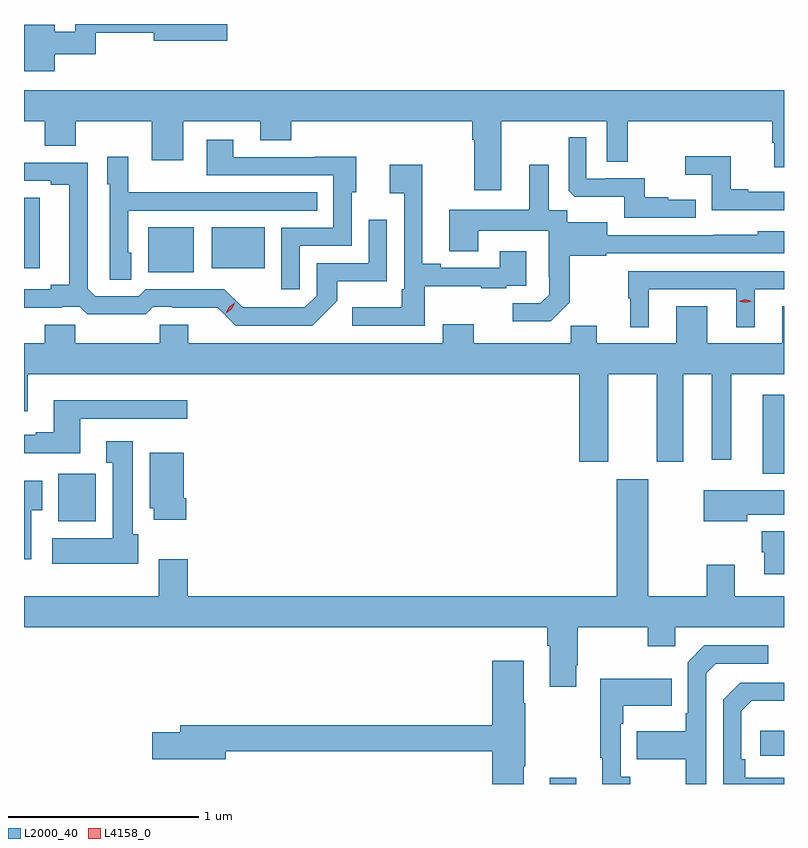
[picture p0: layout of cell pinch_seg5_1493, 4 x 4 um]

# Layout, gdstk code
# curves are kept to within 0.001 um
import gdstk
lib = gdstk.Library(unit=1e-6, precision=1e-09)
def R(c, l, rs):  # rectangles x0, y0, x1, y1
    for r in rs: c.add(gdstk.rectangle(r[:2], r[2:], *l))
def P(c, l, *ps):  # polygons
    for p in ps: c.add(gdstk.Polygon(p, *l))
L2000_40 = (2000, 40)
L4158_0 = (4158, 0)

pinch_seg5_1493 = lib.new_cell('pinch_seg5_1493')
R(pinch_seg5_1493, L2000_40, [(254.009,842.616,254.149,842.65), (255.117,842.766,255.242,842.896), (251.423,843.998,251.619,844.249), (255.131,844.25,255.242,844.666), (251.897,845.309,252.136,845.545), (251.242,845.33,251.326,845.701), (252.23,845.33,252.508,845.545)])
P(pinch_seg5_1493, L2000_40, [(251.404,846.458),(251.62,846.458),(251.62,846.57),(251.924,846.57),(251.924,846.527),(252.313,846.527),(252.313,846.616),(251.511,846.616),(251.511,846.575),(251.404,846.575),(251.404,846.613),(251.242,846.613),(251.242,846.368),(251.404,846.368)],
  [(253.753,846.104),(254.31,846.104),(254.31,845.89),(254.419,845.89),(254.419,846.104),(255.179,846.104),(255.179,845.991),(255.191,845.991),(255.191,845.862),(255.242,845.862),(255.242,846.268),(251.242,846.268),(251.242,846.104),(251.351,846.104),(251.351,845.976),(251.515,845.976),(251.515,846.104),(251.915,846.104),(251.915,845.898),(252.079,845.898),(252.079,846.104),(252.485,846.104),(252.485,846.005),(252.649,846.005),(252.649,846.104),(253.601,846.104),(253.601,846.008),(253.613,846.008),(253.613,845.742),(253.753,845.742)],
  [(254.777,845.692),(254.633,845.692),(254.633,845.704),(254.51,845.704),(254.51,845.805),(254.302,845.805),(254.302,845.802),(254.202,845.802),(254.202,846.019),(254.109,846.019),(254.109,845.739),(254.141,845.708),(254.4,845.708),(254.4,845.595),(254.777,845.595)],
  [(252.693,845.448),(252.966,845.448),(252.966,845.73),(252.991,845.73),(252.991,845.918),(252.773,845.918),(252.773,845.916),(252.343,845.916),(252.343,846.007),(252.203,846.007),(252.203,845.82),(252.87,845.82),(252.87,845.544),(252.597,845.544),(252.597,845.22),(252.693,845.22)],
  [(255.242,845.733),(255.055,845.733),(255.055,845.746),(254.961,845.746),(254.961,845.921),(254.721,845.921),(254.721,845.822),(254.862,845.822),(254.862,845.637),(255.242,845.637)],
  [(251.806,845.412),(251.79,845.412),(251.79,845.634),(252.785,845.634),(252.785,845.73),(252.107,845.73),(252.107,845.731),(251.79,845.731),(251.79,845.917),(251.681,845.917),(251.681,845.772),(251.694,845.772),(251.694,845.269),(251.806,845.269)],
  [(252.891,845.159),(252.891,845.261),(253.152,845.261),(253.152,845.587),(253.056,845.587),(253.056,845.358),(252.783,845.358),(252.783,845.187),(252.72,845.124),(252.496,845.124),(252.496,845.126),(252.392,845.126),(252.297,845.22),(251.883,845.22),(251.847,845.184),(251.616,845.184),(251.577,845.223),(251.577,845.886),(251.242,845.886),(251.242,845.79),(251.384,845.79),(251.384,845.77),(251.48,845.77),(251.48,845.243),(251.384,845.243),(251.384,845.22),(251.242,845.22),(251.242,845.123),(251.441,845.123),(251.441,845.127),(251.535,845.127),(251.575,845.088),(251.883,845.088),(251.922,845.127),(252.022,845.127),(252.022,845.123),(252.263,845.123),(252.357,845.028),(252.76,845.028)],
  [(253.351,845.237),(253.649,845.237),(253.649,845.226),(253.781,845.226),(253.781,845.238),(253.885,845.238),(253.885,845.419),(253.745,845.419),(253.745,845.334),(253.435,845.334),(253.435,845.353),(253.339,845.353),(253.339,845.875),(253.167,845.875),(253.167,845.726),(253.242,845.726),(253.242,845.221),(253.23,845.221),(253.23,845.125),(252.969,845.125),(252.969,845.028),(253.351,845.028)],
  [(254.115,845.151),(254.115,845.397),(254.307,845.397),(254.307,845.409),(255.242,845.409),(255.242,845.524),(255.105,845.524),(255.105,845.506),(254.311,845.505),(254.311,845.572),(254.1,845.572),(254.1,845.636),(254.005,845.636),(254.005,845.875),(253.901,845.875),(253.901,845.638),(253.481,845.638),(253.481,845.419),(253.633,845.419),(253.633,845.528),(254.004,845.528),(254.004,845.287),(254.006,845.287),(254.006,845.192),(253.959,845.145),(253.815,845.145),(253.815,845.051),(254.015,845.051)],
  [(254.53,845.22),(254.99,845.22),(254.99,845.021),(255.088,845.021),(255.088,845.22),(255.242,845.22),(255.242,845.316),(254.421,845.316),(254.421,845.172),(254.432,845.172),(254.432,845.021),(254.53,845.021)],
  [(254.257,845.027),(254.119,845.027),(254.119,844.936),(253.609,844.936),(253.609,845.035),(253.445,845.035),(253.445,844.936),(252.106,844.936),(252.106,845.034),(251.956,845.034),(251.956,844.936),(251.511,844.936),(251.511,845.034),(251.351,845.034),(251.351,844.936),(251.242,844.936),(251.242,844.578),(251.263,844.578),(251.263,844.772),(254.165,844.772),(254.165,844.311),(254.317,844.311),(254.317,844.772),(254.573,844.772),(254.573,844.311),(254.713,844.311),(254.713,844.772),(254.861,844.772),(254.861,844.323),(254.965,844.323),(254.965,844.772),(255.242,844.772),(255.242,845.131),(255.233,845.131),(255.233,844.936),(254.839,844.936),(254.839,845.131),(254.675,845.131),(254.675,844.936),(254.257,844.936)],
  [(251.539,844.539),(252.1,844.539),(252.1,844.636),(251.399,844.636),(251.399,844.468),(251.303,844.468),(251.303,844.455),(251.242,844.455),(251.242,844.358),(251.539,844.358)],
  [(251.842,843.93),(251.815,843.93),(251.815,844.42),(251.675,844.42),(251.675,844.307),(251.708,844.307),(251.708,843.91),(251.391,843.91),(251.391,843.776),(251.842,843.776)],
  [(252.095,844.12),(252.082,844.12),(252.082,844.36),(251.903,844.36),(251.903,844.068),(251.924,844.068),(251.924,844.008),(252.095,844.008)],
  [(254.149,843.241),(254.157,843.241),(254.157,843.44),(254.524,843.44),(254.524,843.341),(254.67,843.341),(254.67,843.44),(255.242,843.44),(255.242,843.604),(254.983,843.604),(254.983,843.769),(254.836,843.769),(254.836,843.604),(254.527,843.604),(254.527,844.219),(254.363,844.219),(254.363,843.604),(252.104,843.604),(252.104,843.799),(251.951,843.799),(251.951,843.604),(251.242,843.604),(251.242,843.44),(253.997,843.44),(253.997,843.344),(254.009,843.344),(254.009,843.129),(254.149,843.129)],
  [(251.281,844.057),(251.338,844.057),(251.338,844.213),(251.242,844.213),(251.242,843.798),(251.281,843.798)],
  [(255.049,844.034),(255.242,844.034),(255.242,844.162),(254.82,844.162),(254.82,843.998),(255.049,843.998)],
  [(255.242,843.945),(255.125,843.945),(255.125,843.837),(255.137,843.837),(255.137,843.72),(255.242,843.72)],
  [(254.832,843.198),(254.883,843.249),(255.16,843.249),(255.16,843.345),(254.823,843.345),(254.736,843.258),(254.736,842.989),(254.724,842.989),(254.724,842.893),(254.467,842.893),(254.467,842.746),(254.724,842.746),(254.724,842.616),(254.832,842.616)],
  [(253.873,842.71),(253.881,842.71),(253.881,843.041),(253.873,843.041),(253.873,843.265),(253.706,843.265),(253.706,842.924),(252.065,842.924),(252.065,842.888),(251.916,842.888),(251.916,842.746),(252.304,842.746),(252.304,842.788),(253.706,842.788),(253.706,842.616),(253.873,842.616)],
  [(254.434,842.654),(254.382,842.654),(254.382,842.933),(254.395,842.933),(254.395,843.029),(254.651,843.029),(254.651,843.169),(254.274,843.169),(254.274,842.753),(254.285,842.753),(254.285,842.616),(254.434,842.616)],
  [(255.242,842.649),(255.038,842.649),(255.038,842.746),(255.018,842.746),(255.018,843),(255.071,843.053),(255.242,843.053),(255.242,843.15),(255.012,843.15),(254.922,843.06),(254.922,842.616),(255.242,842.616)])
P(pinch_seg5_1493, L4158_0, [(255.039,845.148),(255.003,845.158),(255.003,845.158),(255.003,845.158),(255.039,845.168),(255.075,845.158),(255.075,845.158),(255.075,845.158)],
  [(252.305,845.094),(252.305,845.094),(252.321,845.128),(252.352,845.149),(252.352,845.149),(252.352,845.149),(252.336,845.115),(252.305,845.094)])

lib.write_gds('pinch_seg5_1493.gds')
